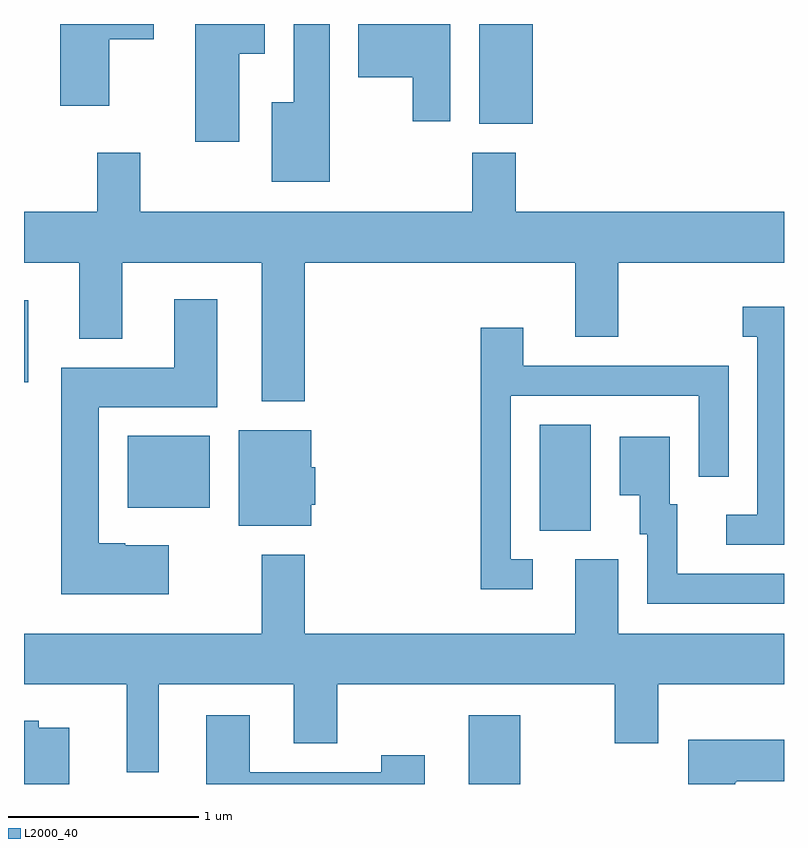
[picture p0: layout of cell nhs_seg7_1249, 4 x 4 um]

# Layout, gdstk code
import gdstk
lib = gdstk.Library(unit=1e-6, precision=1e-09)
def R(c, l, rs):  # rectangles x0, y0, x1, y1
    for r in rs: c.add(gdstk.rectangle(r[:2], r[2:], *l))
def P(c, l, *ps):  # polygons
    for p in ps: c.add(gdstk.Polygon(p, *l))
L2000_40 = (2000, 40)

nhs_seg7_1249 = lib.new_cell('nhs_seg7_1249')
R(nhs_seg7_1249, L2000_40, [(225.951,1698.252,226.224,1698.614), (226.326,1699.586,226.594,1700.144), (224.156,1699.706,224.589,1700.084), (223.611,1700.366,223.634,1700.799), (226.006,1701.726,226.289,1702.252)])
P(nhs_seg7_1249, L2000_40, [(225.854,1702.252),(225.371,1702.252),(225.371,1701.971),(225.656,1701.971),(225.656,1701.741),(225.854,1701.741)],
  [(224.059,1702.171),(224.294,1702.171),(224.294,1702.252),(223.801,1702.252),(223.801,1701.821),(224.059,1701.821)],
  [(225.219,1702.252),(225.031,1702.252),(225.031,1701.839),(224.916,1701.839),(224.916,1701.421),(225.219,1701.421)],
  [(224.744,1702.096),(224.879,1702.096),(224.879,1702.252),(224.511,1702.252),(224.511,1701.631),(224.744,1701.631)],
  [(225.089,1700.996),(226.511,1700.996),(226.511,1700.606),(226.739,1700.606),(226.739,1700.996),(227.611,1700.996),(227.611,1701.264),(226.199,1701.264),(226.199,1701.574),(225.971,1701.574),(225.971,1701.264),(224.224,1701.264),(224.224,1701.574),(223.996,1701.574),(223.996,1701.264),(223.611,1701.264),(223.611,1700.996),(223.901,1700.996),(223.901,1700.596),(224.129,1700.596),(224.129,1700.996),(224.861,1700.996),(224.861,1700.266),(225.089,1700.266)],
  [(224.374,1699.509),(224.145,1699.509),(224.145,1699.519),(224.004,1699.519),(224.004,1700.236),(224.629,1700.236),(224.629,1700.804),(224.401,1700.804),(224.401,1700.444),(223.806,1700.444),(223.806,1699.251),(224.374,1699.251)],
  [(227.611,1700.764),(227.393,1700.764),(227.393,1700.606),(227.471,1700.606),(227.471,1699.669),(227.308,1699.669),(227.308,1699.511),(227.611,1699.511)],
  [(226.288,1699.434),(226.174,1699.434),(226.174,1700.296),(227.161,1700.296),(227.161,1699.868),(227.319,1699.868),(227.319,1700.454),(226.239,1700.454),(226.239,1700.654),(226.016,1700.654),(226.016,1699.276),(226.288,1699.276)],
  [(225.124,1699.721),(225.144,1699.721),(225.144,1699.919),(225.124,1699.919),(225.124,1700.114),(224.741,1700.114),(224.741,1699.611),(225.124,1699.611)],
  [(227.611,1699.359),(227.049,1699.359),(227.049,1699.724),(227.009,1699.724),(227.009,1700.079),(226.746,1700.079),(226.746,1699.771),(226.851,1699.771),(226.851,1699.566),(226.891,1699.566),(226.891,1699.201),(227.611,1699.201)],
  [(224.319,1698.776),(225.031,1698.776),(225.031,1698.466),(225.259,1698.466),(225.259,1698.776),(226.721,1698.776),(226.721,1698.466),(226.949,1698.466),(226.949,1698.776),(227.611,1698.776),(227.611,1699.044),(226.739,1699.044),(226.739,1699.434),(226.511,1699.434),(226.511,1699.044),(225.089,1699.044),(225.089,1699.459),(224.861,1699.459),(224.861,1699.044),(223.611,1699.044),(223.611,1698.776),(224.151,1698.776),(224.151,1698.313),(224.319,1698.313)],
  [(225.719,1698.404),(225.491,1698.404),(225.491,1698.314),(224.799,1698.314),(224.799,1698.614),(224.571,1698.614),(224.571,1698.252),(225.719,1698.252)],
  [(223.849,1698.549),(223.689,1698.549),(223.689,1698.584),(223.611,1698.584),(223.611,1698.252),(223.849,1698.252)],
  [(227.354,1698.26),(227.36,1698.26),(227.36,1698.266),(227.611,1698.266),(227.611,1698.484),(227.106,1698.484),(227.106,1698.252),(227.354,1698.252)])

lib.write_gds('nhs_seg7_1249.gds')
